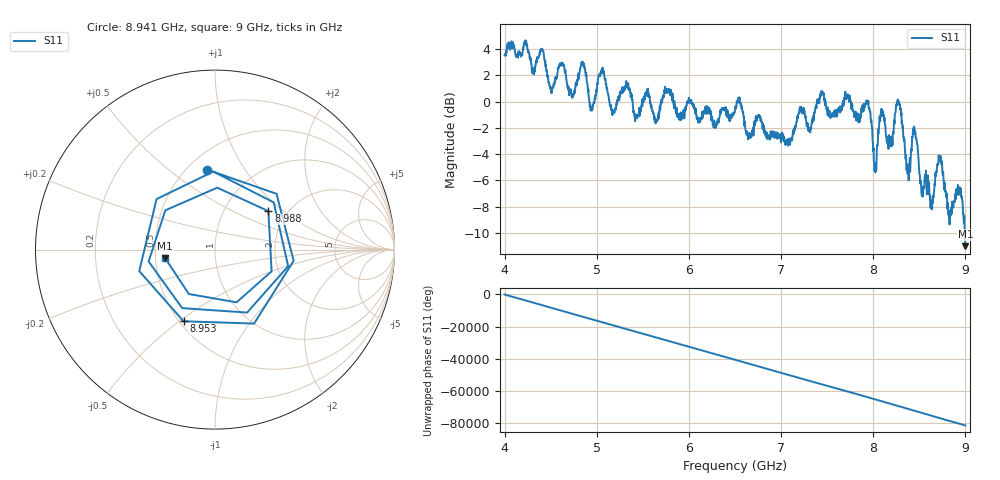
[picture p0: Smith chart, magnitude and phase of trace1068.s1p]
! Created with skrf 1.8.0 (http://scikit-rf.org).
# Hz S RI R 50.0
!freq ReS11 ImS11
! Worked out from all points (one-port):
!   1601 points, 4 GHz to 9 GHz, reference 50 ohm
!   lowest |S11| = -11.0 dB at 9 GHz (marker M1), VSWR 1.78, Z = 28.2 - j2.96 ohm
!   |S11| at or under -10 dB: 8.994111 GHz to end of sweep
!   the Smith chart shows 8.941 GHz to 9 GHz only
!   S11 on the Smith chart (normalised r, x): 8.941 GHz: 0.62, +0.69; 8.953 GHz: 0.53, -0.52; 8.988 GHz: 1.60, +0.79; 9 GHz: 0.56, -0.06
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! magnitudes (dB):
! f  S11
! 4 GHz  3.5
! 4.403 GHz  4.0
! 4.509 GHz  0.6
! 4.625 GHz  3.0
! 4.738 GHz  0.4
! 4.853 GHz  2.8
! 4.944 GHz  -0.5
! 5.053 GHz  2.4
! 5.169 GHz  -1.0
! 5.25 GHz  0.6
! 5.875 GHz  -1.1
! 6.5 GHz  -0.6
! 7.125 GHz  -2.5
! 7.75 GHz  0.2
! 7.944 GHz  -0.1
! 8.025 GHz  -5.2
! 8.084 GHz  -0.9
! 8.184 GHz  -3.4
! 8.275 GHz  -0.1
! 8.375 GHz  -5.4
! 8.447 GHz  -2.2
! 8.628 GHz  -7.5
! 8.722 GHz  -4.5
! 8.828 GHz  -9.4
! 8.941 GHz  -7.0
! 8.953 GHz  -7.2
! 8.988 GHz  -8.7
! 9 GHz  -11.0
